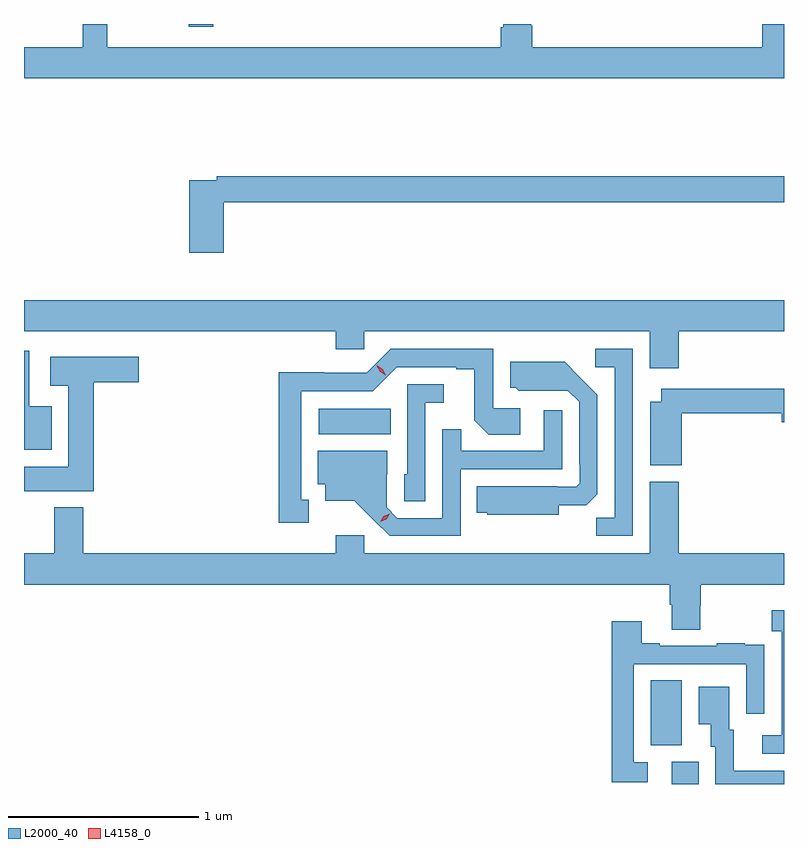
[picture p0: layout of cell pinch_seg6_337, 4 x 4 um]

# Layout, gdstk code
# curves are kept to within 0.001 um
import gdstk
lib = gdstk.Library(unit=1e-6, precision=1e-09)
def R(c, l, rs):  # rectangles x0, y0, x1, y1
    for r in rs: c.add(gdstk.rectangle(r[:2], r[2:], *l))
def P(c, l, *ps):  # polygons
    for p in ps: c.add(gdstk.Polygon(p, *l))
L2000_40 = (2000, 40)
L4158_0 = (4158, 0)

pinch_seg6_337 = lib.new_cell('pinch_seg6_337')
R(pinch_seg6_337, L2000_40, [(748.847,942.29,748.987,942.408), (748.736,942.493,748.9,942.836), (746.988,944.132,747.368,944.266), (746.304,946.275,746.432,946.29)])
P(pinch_seg6_337, L2000_40, [(749.437,946.29),(749.322,946.29),(749.322,946.168),(748.112,946.168),(748.112,946.281),(748.107,946.281),(748.107,946.29),(747.959,946.29),(747.959,946.274),(747.947,946.274),(747.947,946.168),(745.876,946.168),(745.876,946.29),(745.747,946.29),(745.747,946.168),(745.437,946.168),(745.437,946.004),(749.437,946.004)],
  [(746.489,945.352),(749.437,945.352),(749.437,945.488),(746.452,945.488),(746.452,945.468),(746.306,945.468),(746.306,945.087),(746.489,945.087)],
  [(748.883,944.672),(749.437,944.672),(749.437,944.836),(745.437,944.836),(745.437,944.672),(747.077,944.672),(747.077,944.579),(747.228,944.579),(747.228,944.672),(748.73,944.672),(748.73,944.478),(748.883,944.478)],
  [(748.641,944.58),(748.443,944.58),(748.443,944.484),(748.545,944.484),(748.545,943.691),(748.45,943.691),(748.45,943.596),(748.641,943.596)],
  [(746.935,943.785),(746.896,943.785),(746.896,944.358),(747.273,944.358),(747.399,944.484),(747.713,944.484),(747.713,944.472),(747.807,944.472),(747.807,944.204),(747.883,944.128),(748.048,944.128),(748.048,944.268),(747.906,944.268),(747.906,944.58),(747.366,944.58),(747.24,944.454),(747.018,944.454),(747.018,944.456),(746.778,944.456),(746.778,943.665),(746.935,943.665)],
  [(745.582,944.278),(745.465,944.278),(745.465,944.569),(745.437,944.569),(745.437,944.048),(745.582,944.048)],
  [(745.805,944.405),(746.041,944.405),(746.041,944.539),(745.575,944.539),(745.575,944.387),(745.67,944.387),(745.67,943.96),(745.437,943.96),(745.437,943.832),(745.805,943.832)],
  [(748.252,943.757),(748.396,943.757),(748.455,943.816),(748.455,944.338),(748.283,944.512),(747.995,944.512),(747.995,944.376),(748.026,944.376),(748.042,944.36),(748.299,944.361),(748.359,944.301),(748.359,943.972),(748.362,943.972),(748.362,943.872),(748.344,943.854),(748.244,943.854),(748.244,943.858),(747.82,943.858),(747.82,943.718),(747.876,943.718),(747.876,943.706),(748.252,943.706)],
  [(747.549,944.297),(747.646,944.297),(747.646,944.394),(747.453,944.394),(747.453,943.92),(747.438,943.92),(747.438,943.777),(747.549,943.777)],
  [(748.9,944.242),(749.426,944.242),(749.426,944.195),(749.437,944.195),(749.437,944.371),(748.79,944.371),(748.79,944.302),(748.733,944.302),(748.733,943.967),(748.9,943.967)],
  [(747.735,943.947),(748.269,943.947),(748.269,944.257),(748.173,944.257),(748.173,944.043),(747.737,944.043),(747.737,944.156),(747.639,944.156),(747.639,943.689),(747.402,943.689),(747.345,943.746),(747.345,943.92),(747.349,943.92),(747.349,944.044),(746.984,944.044),(746.984,943.868),(747.023,943.868),(747.023,943.781),(747.175,943.781),(747.362,943.596),(747.735,943.596)],
  [(748.995,943.227),(749,943.227),(749,943.34),(749.437,943.34),(749.437,943.504),(748.883,943.504),(748.883,943.882),(748.73,943.882),(748.73,943.504),(747.228,943.504),(747.228,943.6),(747.077,943.6),(747.077,943.504),(745.748,943.504),(745.748,943.747),(745.595,943.747),(745.595,943.504),(745.437,943.504),(745.437,943.34),(748.835,943.34),(748.835,943.234),(748.847,943.234),(748.847,943.102),(748.995,943.102)],
  [(749.437,943.204),(749.373,943.204),(749.373,943.094),(749.424,943.094),(749.424,942.546),(749.322,942.546),(749.322,942.45),(749.437,942.45)],
  [(748.72,942.405),(748.647,942.405),(748.647,942.921),(749.238,942.921),(749.238,942.66),(749.334,942.66),(749.334,942.914),(749.333,942.914),(749.333,943.023),(749.231,943.023),(749.231,943.03),(749.083,943.03),(749.083,943.017),(748.783,943.017),(748.783,943.03),(748.687,943.03),(748.687,943.147),(748.531,943.147),(748.531,942.3),(748.72,942.3)],
  [(749.437,942.36),(749.173,942.36),(749.173,942.576),(749.149,942.576),(749.149,942.802),(748.988,942.802),(748.988,942.605),(749.051,942.605),(749.051,942.486),(749.076,942.486),(749.076,942.29),(749.437,942.29)])
P(pinch_seg6_337, L4158_0, [(747.313,943.669),(747.313,943.669),(747.33,943.698),(747.361,943.713),(747.361,943.713),(747.361,943.713),(747.344,943.684),(747.313,943.669)],
  [(747.342,944.441),(747.311,944.46),(747.293,944.492),(747.293,944.493),(747.293,944.493),(747.325,944.474),(747.342,944.441),(747.342,944.441)])

lib.write_gds('pinch_seg6_337.gds')
